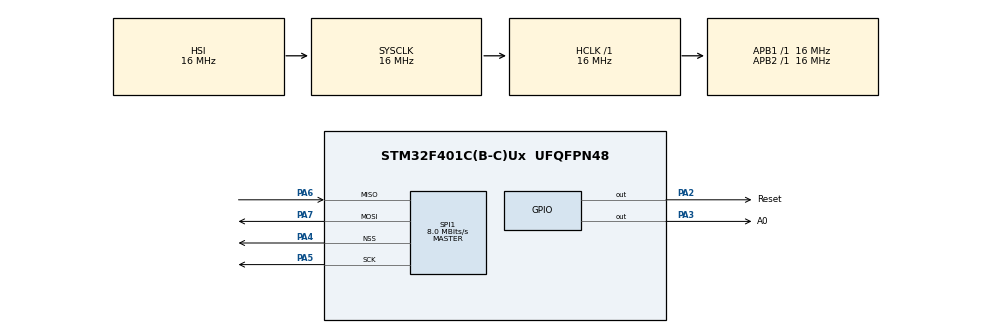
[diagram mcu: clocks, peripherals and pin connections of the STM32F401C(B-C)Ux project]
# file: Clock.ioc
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Dma.Request0=SPI1_TX
Dma.SPI1_TX.0.Direction=DMA_MEMORY_TO_PERIPH
Dma.SPI1_TX.0.FIFOMode=DMA_FIFOMODE_DISABLE
Dma.SPI1_TX.0.Instance=DMA2_Stream3
Dma.SPI1_TX.0.MemDataAlignment=DMA_MDATAALIGN_BYTE
Dma.SPI1_TX.0.MemInc=DMA_MINC_ENABLE
Dma.SPI1_TX.0.Mode=DMA_NORMAL
Dma.SPI1_TX.0.PeriphDataAlignment=DMA_PDATAALIGN_BYTE
Dma.SPI1_TX.0.PeriphInc=DMA_PINC_DISABLE
Dma.SPI1_TX.0.Priority=DMA_PRIORITY_LOW
Mcu.Family=STM32F4
Mcu.Name=STM32F401C(B-C)Ux
Mcu.Package=UFQFPN48
NVIC.DMA2_Stream3_IRQn=true\:0\:0\:false\:false\:true\:false\:true\:true
NVIC.PriorityGroup=NVIC_PRIORITYGROUP_4
PA2.GPIO_Label=Reset
PA2.GPIO_PuPd=GPIO_PULLUP
PA2.PinState=GPIO_PIN_SET
PA2.Signal=GPIO_Output
PA3.GPIO_Label=A0
PA3.Signal=GPIO_Output
PA4.Mode=NSS_Signal_Hard_Output
PA4.Signal=SPI1_NSS
PA5.Mode=Full_Duplex_Master
PA5.Signal=SPI1_SCK
PA6.Mode=Full_Duplex_Master
PA6.Signal=SPI1_MISO
PA7.Mode=Full_Duplex_Master
PA7.Signal=SPI1_MOSI
ProjectManager.HeapSize=0x200
ProjectManager.StackSize=0x400
ProjectManager.TargetToolchain=STM32CubeIDE
RCC.AHBFreq_Value=16000000
RCC.APB1Freq_Value=16000000
RCC.APB2Freq_Value=16000000
RCC.CortexFreq_Value=16000000
RCC.HSE_VALUE=25000000
RCC.HSI_VALUE=16000000
RCC.LSE_VALUE=32768
RCC.SYSCLKFreq_VALUE=16000000
RCC.VCOOutputFreq_Value=192000000
SPI1.CalculateBaudRate=8.0 MBits/s
SPI1.Direction=SPI_DIRECTION_2LINES
SPI1.Mode=SPI_MODE_MASTER
SPI1.VirtualNSS=VM_NSSHARD
SPI1.VirtualType=VM_MASTER
board=custom

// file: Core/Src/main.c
/* USER CODE BEGIN Header */
/**
  ******************************************************************************
  * @file           : main.c
  * @brief          : Main program body
  ******************************************************************************
  * @attention
  *
  * Copyright (c) 2024 STMicroelectronics.
  * All rights reserved.
  *
  * This software is licensed under terms that can be found in the LICENSE file
  * in the root directory of this software component.
  * If no LICENSE file comes with this software, it is provided AS-IS.
  *
  ******************************************************************************
  */
/* USER CODE END Header */
#include "main.h"
#include "string.h"
#include "stdbool.h"

/* USER CODE BEGIN PD */
#define LED_CMD_INIT_BUF_SIZE			14u

#define LED_CMD_DISP_START_LINE0		0x40 	/* Display start line 0      		  */
#define LED_CMD_ADC_REV					0xA1 	/* ADC reverse               		  */
#define LED_CMD_COMMON_MODE_SEL			0xC0 	/* Normal COM0~COM63          	 	  */
#define LED_CMD_DISP_NORMAL				0xA6 	/* Display normal               	  */
#define LED_CMD_BIAS_SET 		 		0xA2 	/* Set bias 1/9 (Duty 1/65)  	 	  */
#define LED_CMD_PWR_CTRL_SET			0x2F  	/* Booster, Regulator and Follower on */
#define LED_CMD_BOOST_RATIO_SET_1		0xF8    /* Set internal Booster to 4x (1) 	  */
#define LED_CMD_BOOST_RATIO_SET_2 		0x00	/* Set internal Booster to 4x (2) 	  */
#define LED_CMD_VREG_SET  				0x27	/* Contrast set	(1)					  */
#define LED_CMD_EVOLUME_MODE_SET_1		0x81 	/* Contrast set	(2)					  */
#define LED_CMD_EVOLUME_MODE_SET_2		0x16	/* Contrast set	(3)					  */
#define LED_CMD_STATIC_INDIC_SET_1		0xAC	/* No Indicator	(1)					  */
#define LED_CMD_STATIC_INDIC_SET_2		0x00	/* No Indicator	(2)					  */
#define LED_CMD_DISP_ON					0xAF	/* Display ON 						  */
#define LED_CMD_ALL_ON					0xA5	/* All points on 					  */

#define LED_CMD_WRITE					0xE0	/* Write 						      */
#define LED_CMD_PAGE_ADDR_START			0xB0	/* Page address in lower nibble		  */
#define LED_CMD_COL_ADDR_START_MSB		0x10	/* MSB of column start address		  */
#define LED_CMD_COL_ADDR_START_LSB		0x00 	/* LSB of column start address		  */
#define LED_CMD_RESET					0xE2
#define LED_CMD_END						0xEE

#define LED_NUM_ROWS					64u
#define LED_NUM_COLS					16u

/* USER CODE END PD */

SPI_HandleTypeDef hspi1;
DMA_HandleTypeDef hdma_spi1_tx;

/* USER CODE BEGIN PV */
uint8_t led_cmd_init_buf[LED_CMD_INIT_BUF_SIZE] =
{
  LED_CMD_DISP_START_LINE0,
  LED_CMD_ADC_REV,
  LED_CMD_COMMON_MODE_SEL,
  LED_CMD_DISP_NORMAL,
  LED_CMD_BIAS_SET,
  LED_CMD_PWR_CTRL_SET,
  LED_CMD_BOOST_RATIO_SET_1,
  LED_CMD_BOOST_RATIO_SET_2,
  LED_CMD_VREG_SET,
  LED_CMD_EVOLUME_MODE_SET_1,
  LED_CMD_EVOLUME_MODE_SET_2,
  LED_CMD_STATIC_INDIC_SET_1,
  LED_CMD_STATIC_INDIC_SET_2,
  LED_CMD_DISP_ON,
};

volatile uint8_t led_data_buf[1024], led_transfer_buf[1024];

extern uint8_t *digits[10];
/* USER CODE END PV */

void SystemClock_Config(void);
static void MX_GPIO_Init(void);
static void MX_DMA_Init(void);
static void MX_SPI1_Init(void);

/* USER CODE BEGIN 0 */

void populate_xfer_buffer(void)
{
	memset((void *)&led_transfer_buf[0], 0x00, sizeof(led_transfer_buf));

	for (uint8_t page = 0; page < 8; page++)
	{
		for (uint8_t col_byte = 0; col_byte < 16; col_byte++)
		{
			for (uint8_t bit = 0; bit < 8; bit++)
			{
				for (uint8_t pos = 0; pos < 8; pos++)
				{
					led_transfer_buf[(page * 128) + (col_byte * 8) + bit] |=
					((((led_data_buf[(page * 128) + col_byte + (pos * 16)]) & (1 << (7 - bit))) >> ((7 - bit))) << pos);
				}
			}
		}
	}
}

void populate_digit(uint8_t number)
{
	uint8_t idx = 0;
	uint8_t *num_buf = digits[number];

	for (uint8_t row = 0; row < 64; row++)
	{
		for (uint8_t col = 0; col < 16; col++)
		{
			if ((col < 3) && (row < 32))
			{
				led_data_buf[(row * LED_NUM_COLS) + col] = *(num_buf + idx);
				idx++;
			}
			else
			{
				led_data_buf[(row * LED_NUM_COLS) + col] = 0x00;
			}
		}
	}
}

void HAL_SPI_TxCpltCallback(SPI_HandleTypeDef *hspi)
{

}

void led_init(void)
{
	HAL_GPIO_WritePin(A0_GPIO_Port, A0_Pin, GPIO_PIN_RESET);
	HAL_SPI_Transmit(&hspi1, &led_cmd_init_buf[0], LED_CMD_INIT_BUF_SIZE, 100);
	HAL_GPIO_WritePin(A0_GPIO_Port, A0_Pin, GPIO_PIN_SET);
}

void led_set_page_addr(uint8_t pageNumber)
{
	uint8_t cmd[3] =
	{
		LED_CMD_PAGE_ADDR_START | pageNumber,
		LED_CMD_COL_ADDR_START_MSB | 0x00,
		LED_CMD_COL_ADDR_START_LSB | 0x00

	};

	HAL_GPIO_WritePin(A0_GPIO_Port, A0_Pin, GPIO_PIN_RESET);
	HAL_SPI_Transmit(&hspi1, &cmd[0], 3, 10);
	HAL_GPIO_WritePin(A0_GPIO_Port, A0_Pin, GPIO_PIN_SET);
}

/* USER CODE END 0 */

int main(void)
{

  /* MCU Configuration--------------------------------------------------------*/

  /* Reset of all peripherals, Initializes the Flash interface and the Systick. */
  HAL_Init();

  /* Configure the system clock */
  SystemClock_Config();

  /* Initialize all configured peripherals */
  MX_GPIO_Init();
  MX_DMA_Init();
  MX_SPI1_Init();
  HAL_GPIO_WritePin(Reset_GPIO_Port, Reset_Pin, GPIO_PIN_RESET);
  HAL_Delay(1);
  HAL_GPIO_WritePin(Reset_GPIO_Port, Reset_Pin, GPIO_PIN_SET);

  led_init();

  for (uint8_t j = 0; j < 10; j++)
  {
	memset((void *)&led_data_buf[0], 0, sizeof(led_data_buf));
	populate_digit(j);
	populate_xfer_buffer();
	/* USER CODE END WHILE */
	for (int i = 0; i < 8; i++)
	{
	  led_set_page_addr(i);
	  HAL_SPI_Transmit(&hspi1, &led_transfer_buf[i * 128], 128, 100);
	}
	HAL_Delay(1000);
  }

  /* Infinite loop */
  /* USER CODE BEGIN WHILE */
  while (1)
  {
  }
}

void SystemClock_Config(void)
{
  RCC_OscInitTypeDef RCC_OscInitStruct = {0};
  RCC_ClkInitTypeDef RCC_ClkInitStruct = {0};

  /** Configure the main internal regulator output voltage
  */
  __HAL_RCC_PWR_CLK_ENABLE();
  __HAL_PWR_VOLTAGESCALING_CONFIG(PWR_REGULATOR_VOLTAGE_SCALE2);

  /** Initializes the RCC Oscillators according to the specified parameters
  * in the RCC_OscInitTypeDef structure.
  */
  RCC_OscInitStruct.OscillatorType = RCC_OSCILLATORTYPE_HSI;
  RCC_OscInitStruct.HSIState = RCC_HSI_ON;
  RCC_OscInitStruct.HSICalibrationValue = RCC_HSICALIBRATION_DEFAULT;
  RCC_OscInitStruct.PLL.PLLState = RCC_PLL_NONE;
  if (HAL_RCC_OscConfig(&RCC_OscInitStruct) != HAL_OK)
  {
    Error_Handler();
  }

  /** Initializes the CPU, AHB and APB buses clocks
  */
  RCC_ClkInitStruct.ClockType = RCC_CLOCKTYPE_HCLK|RCC_CLOCKTYPE_SYSCLK
                              |RCC_CLOCKTYPE_PCLK1|RCC_CLOCKTYPE_PCLK2;
  RCC_ClkInitStruct.SYSCLKSource = RCC_SYSCLKSOURCE_HSI;
  RCC_ClkInitStruct.AHBCLKDivider = RCC_SYSCLK_DIV1;
  RCC_ClkInitStruct.APB1CLKDivider = RCC_HCLK_DIV1;
  RCC_ClkInitStruct.APB2CLKDivider = RCC_HCLK_DIV1;

  if (HAL_RCC_ClockConfig(&RCC_ClkInitStruct, FLASH_LATENCY_0) != HAL_OK)
  {
    Error_Handler();
  }
}

static void MX_SPI1_Init(void)
{

  /* SPI1 parameter configuration*/
  hspi1.Instance = SPI1;
  hspi1.Init.Mode = SPI_MODE_MASTER;
  hspi1.Init.Direction = SPI_DIRECTION_2LINES;
  hspi1.Init.DataSize = SPI_DATASIZE_8BIT;
  hspi1.Init.CLKPolarity = SPI_POLARITY_LOW;
  hspi1.Init.CLKPhase = SPI_PHASE_1EDGE;
  hspi1.Init.NSS = SPI_NSS_HARD_OUTPUT;
  hspi1.Init.BaudRatePrescaler = SPI_BAUDRATEPRESCALER_2;
  hspi1.Init.FirstBit = SPI_FIRSTBIT_MSB;
  hspi1.Init.TIMode = SPI_TIMODE_DISABLE;
  hspi1.Init.CRCCalculation = SPI_CRCCALCULATION_DISABLE;
  hspi1.Init.CRCPolynomial = 10;
  if (HAL_SPI_Init(&hspi1) != HAL_OK)
  {
    Error_Handler();
  }

}

static void MX_DMA_Init(void)
{

  /* DMA controller clock enable */
  __HAL_RCC_DMA2_CLK_ENABLE();

  /* DMA interrupt init */
  /* DMA2_Stream3_IRQn interrupt configuration */
  HAL_NVIC_SetPriority(DMA2_Stream3_IRQn, 0, 0);
  HAL_NVIC_EnableIRQ(DMA2_Stream3_IRQn);

}

static void MX_GPIO_Init(void)
{
  GPIO_InitTypeDef GPIO_InitStruct = {0};

  /* GPIO Ports Clock Enable */
  __HAL_RCC_GPIOA_CLK_ENABLE();

  /*Configure GPIO pin Output Level */
  HAL_GPIO_WritePin(Reset_GPIO_Port, Reset_Pin, GPIO_PIN_SET);

  /*Configure GPIO pin Output Level */
  HAL_GPIO_WritePin(A0_GPIO_Port, A0_Pin, GPIO_PIN_RESET);

  /*Configure GPIO pin : Reset_Pin */
  GPIO_InitStruct.Pin = Reset_Pin;
  GPIO_InitStruct.Mode = GPIO_MODE_OUTPUT_PP;
  GPIO_InitStruct.Pull = GPIO_PULLUP;
  GPIO_InitStruct.Speed = GPIO_SPEED_FREQ_LOW;
  HAL_GPIO_Init(Reset_GPIO_Port, &GPIO_InitStruct);

  /*Configure GPIO pin : A0_Pin */
  GPIO_InitStruct.Pin = A0_Pin;
  GPIO_InitStruct.Mode = GPIO_MODE_OUTPUT_PP;
  GPIO_InitStruct.Pull = GPIO_NOPULL;
  GPIO_InitStruct.Speed = GPIO_SPEED_FREQ_LOW;
  HAL_GPIO_Init(A0_GPIO_Port, &GPIO_InitStruct);

}

void Error_Handler(void)
{
  __disable_irq();
  while (1)
  {
  }
}
